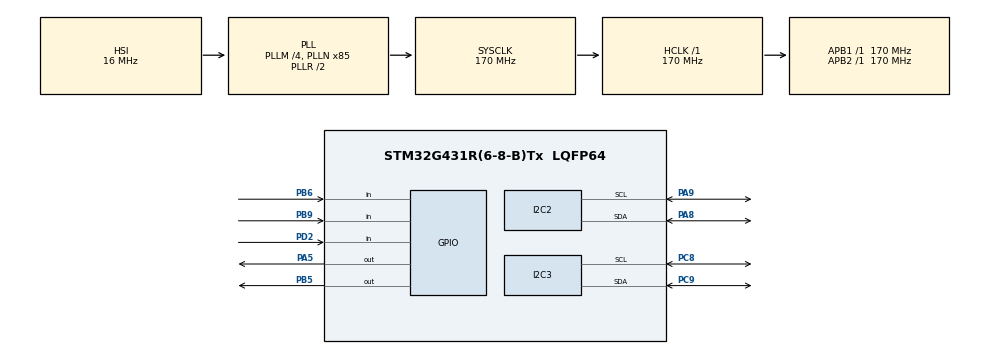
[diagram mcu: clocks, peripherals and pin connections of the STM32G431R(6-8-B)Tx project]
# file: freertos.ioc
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FREERTOS.Tasks01=defaultTask,24,128,StartDefaultTask,Default,NULL,Dynamic,NULL,NULL
FREERTOS.configTOTAL_HEAP_SIZE=6144
I2C2.Timing=0x40B285C2
I2C3.Timing=0x40B285C2
Mcu.Family=STM32G4
Mcu.Name=STM32G431R(6-8-B)Tx
Mcu.Package=LQFP64
NVIC.PriorityGroup=NVIC_PRIORITYGROUP_4
NVIC.TIM7_IRQn=true\:15\:0\:false\:false\:true\:false\:false\:true\:true
NVIC.TimeBase=TIM7_IRQn
NVIC.TimeBaseIP=TIM7
PA13.Mode=Serial_Wire
PA13.Signal=SYS_JTMS-SWDIO
PA14.Mode=Serial_Wire
PA14.Signal=SYS_JTCK-SWCLK
PA5.PinState=GPIO_PIN_RESET
PA5.Signal=GPIO_Output
PA8.Mode=I2C
PA8.Signal=I2C2_SDA
PA9.Mode=I2C
PA9.Signal=I2C2_SCL
PB5.PinState=GPIO_PIN_RESET
PB5.Signal=GPIO_Output
PB6.GPIO_PuPd=GPIO_PULLUP
PB6.Signal=GPIO_Input
PB9.GPIO_PuPd=GPIO_PULLUP
PB9.Signal=GPIO_Input
PC8.Mode=I2C
PC8.Signal=I2C3_SCL
PC9.Mode=I2C
PC9.Signal=I2C3_SDA
PD2.GPIO_PuPd=GPIO_PULLUP
PD2.Signal=GPIO_Input
PF0-OSC_IN.Mode=HSE-External-Oscillator
PF0-OSC_IN.Signal=RCC_OSC_IN
PF1-OSC_OUT.Mode=HSE-External-Oscillator
PF1-OSC_OUT.Signal=RCC_OSC_OUT
ProjectManager.HeapSize=0x200
ProjectManager.StackSize=0x400
ProjectManager.TargetToolchain=MDK-ARM V5.32
RCC.ADC12Freq_Value=170000000
RCC.AHBFreq_Value=170000000
RCC.APB1Freq_Value=170000000
RCC.APB1TimFreq_Value=170000000
RCC.APB2Freq_Value=170000000
RCC.APB2TimFreq_Value=170000000
RCC.CortexFreq_Value=170000000
RCC.EXTERNAL_CLOCK_VALUE=12288000
RCC.HCLKFreq_Value=170000000
RCC.HSE_VALUE=8000000
RCC.HSI48_VALUE=48000000
RCC.HSI_VALUE=16000000
RCC.LSE_VALUE=32768
RCC.PLLM=RCC_PLLM_DIV4
RCC.PLLN=85
RCC.SYSCLKFreq_VALUE=170000000
RCC.SYSCLKSource=RCC_SYSCLKSOURCE_PLLCLK
RCC.USBFreq_Value=170000000
RCC.VCOOutputFreq_Value=340000000
TIM1.PeriodNoDither=65535
TIM1.Prescaler=170-1
VP_FREERTOS_VS_CMSIS_V2.Mode=CMSIS_V2
VP_SYS_VS_DBSignals.Mode=DisableDeadBatterySignals
VP_SYS_VS_tim7.Mode=TIM7
VP_TIM1_VS_ClockSourceINT.Mode=Internal
board=custom

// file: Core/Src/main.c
/* USER CODE BEGIN Header */
/**
  ******************************************************************************
  * @file           : main.c
  * @brief          : Main program body
  ******************************************************************************
  * @attention
  *
  * Copyright (c) 2025 STMicroelectronics.
  * All rights reserved.
  *
  * This software is licensed under terms that can be found in the LICENSE file
  * in the root directory of this software component.
  * If no LICENSE file comes with this software, it is provided AS-IS.
  *
  ******************************************************************************
  */
/* USER CODE END Header */
#include "main.h"
#include "cmsis_os.h"
#include "i2c.h"
#include "tim.h"
#include "gpio.h"

/* USER CODE BEGIN Includes */

#include "oled.h"

/* USER CODE END Includes */

void SystemClock_Config(void);
void MX_FREERTOS_Init(void);

int main(void)
{

  /* MCU Configuration--------------------------------------------------------*/

  /* Reset of all peripherals, Initializes the Flash interface and the Systick. */
  HAL_Init();

  /* Configure the system clock */
  SystemClock_Config();

  /* Initialize all configured peripherals */
  MX_GPIO_Init();
  MX_TIM1_Init();
  MX_I2C3_Init();
  MX_I2C2_Init();

  /* Init scheduler */
  osKernelInitialize();

  /* Call init function for freertos objects (in cmsis_os2.c) */
  MX_FREERTOS_Init();

  /* Start scheduler */
  osKernelStart();

  /* We should never get here as control is now taken by the scheduler */

  /* Infinite loop */
  while (1)
  {

    /* USER CODE BEGIN 3 */

//	OLED_ShowString(0,2,"unicorn_li_123",12,0);//正相显示6X8字符�?

  }
  /* USER CODE END 3 */
}

void SystemClock_Config(void)
{
  RCC_OscInitTypeDef RCC_OscInitStruct = {0};
  RCC_ClkInitTypeDef RCC_ClkInitStruct = {0};

  /** Configure the main internal regulator output voltage
  */
  HAL_PWREx_ControlVoltageScaling(PWR_REGULATOR_VOLTAGE_SCALE1_BOOST);

  /** Initializes the RCC Oscillators according to the specified parameters
  * in the RCC_OscInitTypeDef structure.
  */
  RCC_OscInitStruct.OscillatorType = RCC_OSCILLATORTYPE_HSI;
  RCC_OscInitStruct.HSIState = RCC_HSI_ON;
  RCC_OscInitStruct.HSICalibrationValue = RCC_HSICALIBRATION_DEFAULT;
  RCC_OscInitStruct.PLL.PLLState = RCC_PLL_ON;
  RCC_OscInitStruct.PLL.PLLSource = RCC_PLLSOURCE_HSI;
  RCC_OscInitStruct.PLL.PLLM = RCC_PLLM_DIV4;
  RCC_OscInitStruct.PLL.PLLN = 85;
  RCC_OscInitStruct.PLL.PLLP = RCC_PLLP_DIV2;
  RCC_OscInitStruct.PLL.PLLQ = RCC_PLLQ_DIV2;
  RCC_OscInitStruct.PLL.PLLR = RCC_PLLR_DIV2;
  if (HAL_RCC_OscConfig(&RCC_OscInitStruct) != HAL_OK)
  {
    Error_Handler();
  }

  /** Initializes the CPU, AHB and APB buses clocks
  */
  RCC_ClkInitStruct.ClockType = RCC_CLOCKTYPE_HCLK|RCC_CLOCKTYPE_SYSCLK
                              |RCC_CLOCKTYPE_PCLK1|RCC_CLOCKTYPE_PCLK2;
  RCC_ClkInitStruct.SYSCLKSource = RCC_SYSCLKSOURCE_PLLCLK;
  RCC_ClkInitStruct.AHBCLKDivider = RCC_SYSCLK_DIV1;
  RCC_ClkInitStruct.APB1CLKDivider = RCC_HCLK_DIV1;
  RCC_ClkInitStruct.APB2CLKDivider = RCC_HCLK_DIV1;

  if (HAL_RCC_ClockConfig(&RCC_ClkInitStruct, FLASH_LATENCY_4) != HAL_OK)
  {
    Error_Handler();
  }
}

void HAL_TIM_PeriodElapsedCallback(TIM_HandleTypeDef *htim)
{
  if (htim->Instance == TIM7) {
    HAL_IncTick();
  }
}

void Error_Handler(void)
{
  __disable_irq();
  while (1)
  {
  }
}

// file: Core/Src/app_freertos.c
/* USER CODE BEGIN Header */
/**
  ******************************************************************************
  * File Name          : app_freertos.c
  * Description        : Code for freertos applications
  ******************************************************************************
  * @attention
  *
  * Copyright (c) 2025 STMicroelectronics.
  * All rights reserved.
  *
  * This software is licensed under terms that can be found in the LICENSE file
  * in the root directory of this software component.
  * If no LICENSE file comes with this software, it is provided AS-IS.
  *
  ******************************************************************************
  */
/* USER CODE END Header */

#include "FreeRTOS.h"
#include "task.h"
#include "main.h"
#include "cmsis_os.h"

/* USER CODE BEGIN Includes */
#include "driver_lcd.h"
#include "draw.h"
#include "resources.h"
#include <stdlib.h>
#include "game1.h"
/* USER CODE END Includes */

/* USER CODE BEGIN PTD */
  int num=0;
  extern uint8_t uptMove;
  unsigned char Mpu6050=0;

//extern uint8_t uptMove;

/* USER CODE END PTD */

/* Definitions for defaultTask */
osThreadId_t defaultTaskHandle;
const osThreadAttr_t defaultTask_attributes = {
  .name = "defaultTask",
  .priority = (osPriority_t) osPriorityNormal,
  .stack_size = 128 * 4
};

/* USER CODE BEGIN FunctionPrototypes */

	TaskHandle_t xOLEDTaskHandle;
	TaskHandle_t xLEDTaskHandle;
	TaskHandle_t xSouldTaskHandle;
	TaskHandle_t xKEYTaskHandle;

	struct printinfo
	{
		uint8_t y;
		char name[16];
	};

	struct printinfo task1={0,"taks1:"};
	struct printinfo task2={10,"taks2:"};
	struct printinfo task3={15,"taks3:"};

void OLED(void *argument);
void LED(void *argument);
void Sould(void *argument);
void KEY(void *argument);
void PRINT(void *argument);
void game1_task(void *params);

/* USER CODE END FunctionPrototypes */

void StartDefaultTask(void *argument);

void MX_FREERTOS_Init(void); /* (MISRA C 2004 rule 8.1) */

void MX_FREERTOS_Init(void) {
  /* USER CODE BEGIN Init */
   LCD_Init();
   LCD_Clear();
   LCD_PrintString(0, 0, "Starting");
  /* USER CODE END Init */

  /* Create the thread(s) */
  /* creation of defaultTask */
  defaultTaskHandle = osThreadNew(StartDefaultTask, NULL, &defaultTask_attributes);

  /* USER CODE BEGIN RTOS_THREADS */
  /* add threads, ... */
//  xTaskCreate(OLED,"OLEDTask",128,NULL,osPriorityNormal,&xOLEDTaskHandle);
//  xTaskCreate(LED,"LEDTask",128,NULL,osPriorityNormal,&xLEDTaskHandle);
  xTaskCreate(game1_task, "GameTask", 128, NULL, osPriorityNormal, NULL);
  xTaskCreate(KEY,"KEYTask",128,NULL,osPriorityNormal,&xKEYTaskHandle);
//  xTaskCreate(Sould,"SouldTask",128,NULL,osPriorityNormal,&xSouldTaskHandle);

//  xTaskCreate(PRINT,"PRINTTask1",128,&task1,osPriorityNormal,NULL);
//  xTaskCreate(PRINT,"PRINTTask2",128,&task2,osPriorityNormal,NULL);
//  xTaskCreate(PRINT,"PRINTTask3",128,&task3,osPriorityNormal,NULL);

  /* USER CODE END RTOS_THREADS */

}

/* USER CODE BEGIN Header_StartDefaultTask */
/**
  * @brief  Function implementing the defaultTask thread.
  * @param  argument: Not used
  * @retval None
  */

void OLED(void *argument)
{

  for(;;)
  {

  }

}

unsigned  char canuse=1;

void PRINT(void *argument)
{
	struct printinfo *pInfo = argument;
	uint16_t cnt =0;
  for(;;)
  {
	  if(canuse)
	  {
		  canuse=0;

		  canuse=1;
	  }

//	  vTaskDelay(1000);
	  osDelay(100);
  }

}

void KEY(void *argument)
{

  for(;;)
  {
	  if(HAL_GPIO_ReadPin(GPIOB,GPIO_PIN_9)==0)
	  {
		osDelay(100);
		if(HAL_GPIO_ReadPin(GPIOB,GPIO_PIN_9)==0)
		{
			uptMove = 1;
		}
	  }
	  if(HAL_GPIO_ReadPin(GPIOD,GPIO_PIN_2)==0)
	  {
		osDelay(100);
		if(HAL_GPIO_ReadPin(GPIOD,GPIO_PIN_2)==0)
		{
			uptMove = 2;
		}
	  }
	  if(HAL_GPIO_ReadPin(GPIOB,GPIO_PIN_6)==0)
	  {
		osDelay(100);
		if(HAL_GPIO_ReadPin(GPIOB,GPIO_PIN_6)==0)
		{
			if(Mpu6050)Mpu6050=0;
			else Mpu6050=1;

		}
	  }

	  osDelay(20);

  }

}

void LED(void *argument)
{

  for(;;)
  {
		HAL_GPIO_WritePin(GPIOB,GPIO_PIN_5,1);
		osDelay(1000);
		HAL_GPIO_WritePin(GPIOB,GPIO_PIN_5,0);
		osDelay(1000);
  }

}

void Sould(void *argument)
{

  for(;;)
  {
		HAL_GPIO_WritePin(GPIOA,GPIO_PIN_5,1);
		osDelay(1000);
	  	HAL_GPIO_WritePin(GPIOA,GPIO_PIN_5,0);
		osDelay(1000);
  }

}

/* USER CODE END Header_StartDefaultTask */
void StartDefaultTask(void *argument)
{
  for(;;)
  {
    osDelay(1);
  }
}
